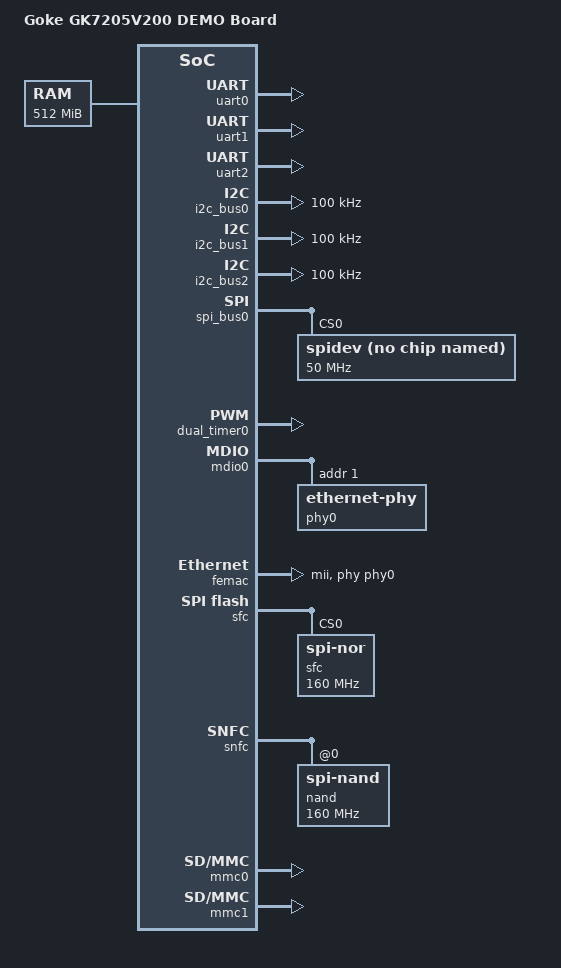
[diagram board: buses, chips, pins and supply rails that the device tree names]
/*
 * Copyright (c) Hunan Goke,Chengdu Goke,Shandong Goke. 2021. All rights reserved.
 */

/dts-v1/;
#include "gk7205v200.dtsi"

/ {
	model = "Goke GK7205V200 DEMO Board";
	compatible = "goke,gk7205v200";

	memory {
		device_type = "memory";
		reg = <0x40000000 0x20000000>;
	};

	reserved-memory {
		#address-cells = <1>;
		#size-cells = <1>;
		ranges;

		/*
		 * pstore/ramoops crash-log region (128K: one 64K panic record plus
		 * headroom). Reserved here rather than carved out of bootargs so it
		 * costs exactly its own size and leaves mem= and the media zone alone.
		 *
		 * Placement matters on this board:
		 *  - Below the media (mmz/cma) zone, which starts at base+osmem
		 *    (osmem >= 32M, so >= 0x42000000). Above that the region would either
		 *    be beyond mem= in gk mode or collide with the cma zone.
		 *  - Well below the top of DRAM: U-Boot relocates itself there on every
		 *    boot (bdinfo on a 64M part: relocaddr 0x43F20000, page tables at
		 *    0x43FF0000), so a log left near the top is overwritten across the
		 *    panic reboot before the kernel can read it back.
		 * 0x41F00000 satisfies both for every gk7205v200 memory layout and for
		 * both allocators, and is clear of the kernel image and of U-Boot's
		 * kernel/uImage load addresses.
		 */
		ramoops@41f00000 {
			compatible = "ramoops";
			reg = <0x41f00000 0x20000>;
			record-size = <0x10000>;
			console-size = <0>;
			pmsg-size = <0>;
		};

		/* Boot-attempt counter shared with U-Boot (bootcount). no-map so
		 * userspace can clear it via /dev/mem under CONFIG_STRICT_DEVMEM; it
		 * survives a warm reset (counting a crashloop) and is lost on power-off
		 * (fresh attempts once power is pulled). */
		bootcount@41f20000 {
			reg = <0x41f20000 0x1000>;
			no-map;
		};
	};
};

&uart0 {
	status = "okay";
};

&uart1 {
	status = "okay";
};

&uart2 {
	status = "okay";
};

&i2c_bus0 {
	status = "okay";
	clock-frequency = <100000>;
};

&i2c_bus1 {
	status = "okay";
	clock-frequency = <100000>;
};

&i2c_bus2 {
	status = "okay";
	clock-frequency = <100000>;
};

&spi_bus0{
	status = "okay";
	num-cs = <1>;

	spidev@0 {
		compatible = "rohm,dh2228fv";
		reg = <0>;
		pl022,interface = <0>;
		pl022,com-mode = <0>;
		spi-max-frequency = <50000000>;
	};
};

&spi_bus1{
	status = "disabled";
	num-cs = <2>;

	spidev@0 {
		compatible = "rohm,dh2228fv";
		reg = <0>;
		pl022,interface = <0>;
		pl022,com-mode = <0>;
		spi-max-frequency = <50000000>;
	};
	spidev@1 {
		compatible = "rohm,dh2228fv";
		reg = <1>;
		pl022,interface = <0>;
		pl022,com-mode = <0>;
		spi-max-frequency = <50000000>;
	};
};

&dual_timer0 {
	status = "okay";
};

&mdio0 {
	goke,phy-reset-delays-us = <10000 20000 150000>;
	phy0: ethernet-phy@1 {
		reg = <1>;
	};
};

&femac {
	mac-address = [00 00 00 00 00 00];
	phy-mode = "mii";
	phy-handle = <&phy0>;
	status = "okay";
};

&sfc {
	sfc {
		compatible = "jedec,spi-nor";
		reg = <0>;
		spi-max-frequency = <160000000>;
	};
};

&snfc {
	nand {
		compatible = "jedec,spi-nand";
		reg = <0>;
		spi-max-frequency = <160000000>;
	};
};

&mmc0 {
	status = "okay";
};

&mmc1 {
	status = "okay";
};

&gpio_chip0 {
	status = "okay";
};

&gpio_chip1 {
	status = "okay";
};

&gpio_chip2 {
	status = "okay";
};

&gpio_chip4 {
	status = "okay";
};

&gpio_chip5 {
	status = "okay";
};

&gpio_chip6 {
	status = "okay";
};

&gpio_chip7 {
	status = "okay";
};

&gpio_chip8 {
	status = "okay";
};

